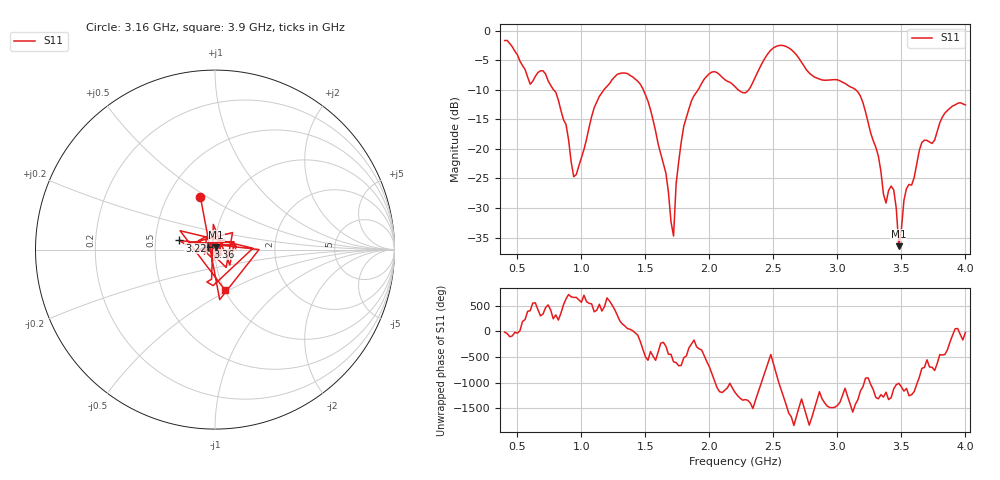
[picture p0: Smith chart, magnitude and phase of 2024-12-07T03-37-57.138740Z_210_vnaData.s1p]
!Created with skrf (http://scikit-rf.org).
# Hz S RI R 50.0
!freq ReS11 ImS11
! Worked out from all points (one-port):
!   181 points, 400 MHz to 4 GHz, reference 50 ohm
!   lowest |S11| = -36.5 dB at 3.48 GHz (marker M1), VSWR 1.03, Z = 50.6 + j1.37 ohm
!   |S11| at or under -10 dB: 782.9 MHz to 1.176 GHz (393.3 MHz wide, 40.2 % of centre); 1.484 GHz to 1.912 GHz (427.7 MHz wide, 25.2 % of centre); 3.143 GHz to end of sweep (the widest 3 of 4)
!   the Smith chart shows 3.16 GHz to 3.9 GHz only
!   S11 on the Smith chart (normalised r, x): 3.16 GHz: 0.72, +0.47; 3.22 GHz: 0.67, +0.07; 3.36 GHz: 0.93, +0.03; 3.9 GHz: 1.00, -0.48
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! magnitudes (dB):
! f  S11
! 400 MHz  -1.7
! 600 MHz  -9.1
! 720 MHz  -7.3
! 860 MHz  -15.1
! 940 MHz  -24.7
! 1.1 GHz  -13.0
! 1.3 GHz  -7.2
! 1.52 GHz  -11.9
! 1.66 GHz  -24.1
! 1.72 GHz  -34.7
! 1.76 GHz  -22.2
! 1.84 GHz  -13.2
! 1.96 GHz  -8.2
! 2.2 GHz  -9.5
! 2.3 GHz  -10.2
! 2.5 GHz  -2.9
! 2.66 GHz  -3.6
! 3.1 GHz  -9.5
! 3.16 GHz  -10.4
! 3.22 GHz  -13.8
! 3.36 GHz  -27.7
! 3.44 GHz  -26.9
! 3.48 GHz  -36.5
! 3.52 GHz  -28.7
! 3.56 GHz  -26.0
! 3.66 GHz  -18.9
! 3.9 GHz  -12.7
! 4 GHz  -12.6
